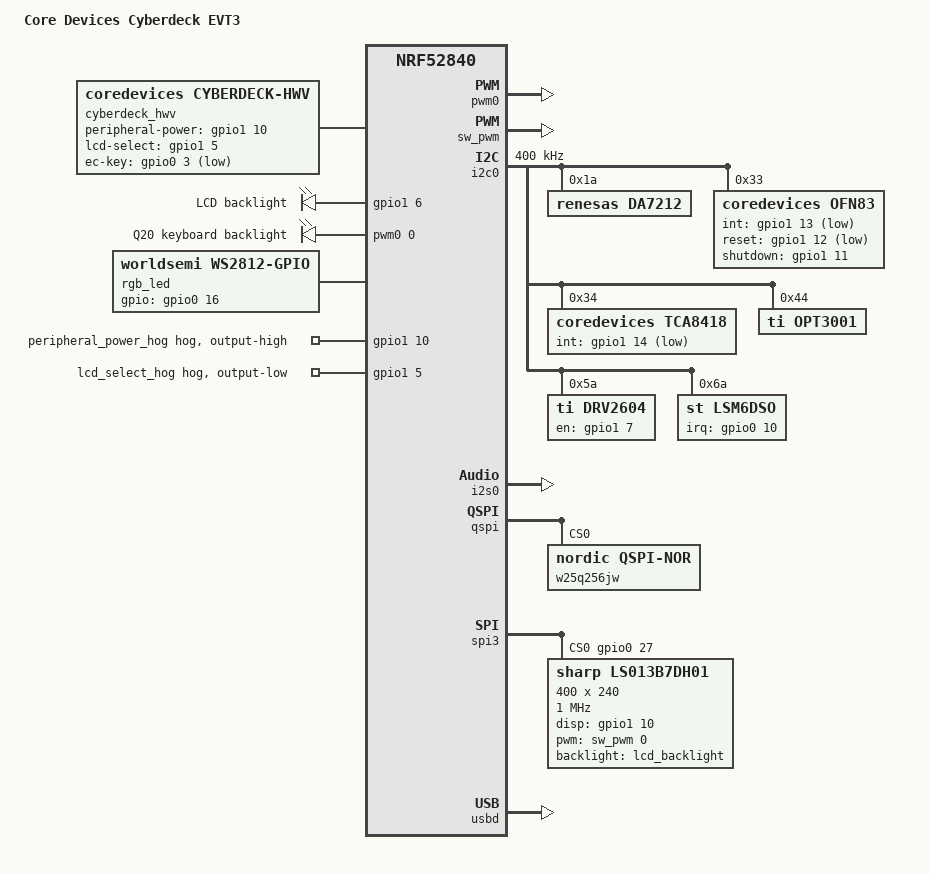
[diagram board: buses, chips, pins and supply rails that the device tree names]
/dts-v1/;

#include <nordic/nrf52840_qiaa.dtsi>
#include <nordic/nrf52840_partition.dtsi>
#include "cyberdeck_evt3-pinctrl.dtsi"

#include <zephyr/dt-bindings/gpio/gpio.h>
#include <zephyr/dt-bindings/led/led.h>
#include <zephyr/dt-bindings/pwm/pwm.h>
#include <zephyr/dt-bindings/sensor/lsm6dso.h>

/ {
	model = "Core Devices Cyberdeck EVT3";
	compatible = "coredevices,cyberdeck-evt3";

	chosen {
		zephyr,console = &cdc_acm_uart0;
		zephyr,shell-uart = &cdc_acm_uart0;
		zephyr,display = &ls013b7dh01;
		zephyr,led-strip = &rgb_led;
	};

	aliases {
		flash0 = &w25q256jw;
		light0 = &opt3001;
		imu0 = &lsm6dso;
		haptic0 = &drv2604;
	};

	cyberdeck_hwv: cyberdeck-hwv {
		compatible = "coredevices,cyberdeck-hwv";
		peripheral-power-gpios = <&gpio1 10 GPIO_ACTIVE_HIGH>;
		lcd-select-gpios = <&gpio1 5 GPIO_ACTIVE_HIGH>;
		ec-key-gpios = <&gpio0 3 (GPIO_PULL_UP | GPIO_ACTIVE_LOW)>;
	};

	lcd_backlight: lcd-backlight {
		compatible = "gpio-leds";
		lcd_backlight_led: lcd-backlight-led {
			gpios = <&gpio1 6 GPIO_ACTIVE_HIGH>;
			label = "LCD backlight";
		};
	};

	kbd_backlight: kbd-backlight {
		compatible = "pwm-leds";
		kbd_backlight_led: kbd-backlight-led {
			pwms = <&pwm0 0 PWM_USEC(1000) PWM_POLARITY_NORMAL>;
			label = "Q20 keyboard backlight";
		};
	};

	rgb_led: ws2812 {
		compatible = "worldsemi,ws2812-gpio";
		chain-length = <1>;
		color-mapping = <LED_COLOR_ID_GREEN LED_COLOR_ID_RED LED_COLOR_ID_BLUE>;
		reset-delay = <50>;
		gpios = <&gpio0 16 GPIO_ACTIVE_HIGH>;
	};
};

&gpiote {
	status = "okay";
};

&gpio0 {
	status = "okay";
};

&gpio1 {
	status = "okay";

	peripheral_power_hog: peripheral-power-hog {
		gpio-hog;
		gpios = <10 GPIO_ACTIVE_HIGH>;
		output-high;
	};

	lcd_select_hog: lcd-select-hog {
		gpio-hog;
		gpios = <5 GPIO_ACTIVE_HIGH>;
		output-low;
	};
};

&pwm0 {
	status = "okay";
	pinctrl-0 = <&pwm0_default>;
	pinctrl-1 = <&pwm0_sleep>;
	pinctrl-names = "default", "sleep";
};

&sw_pwm {
	status = "okay";
	generator = <&rtc2>;
	channel-gpios = <&gpio1 4 GPIO_ACTIVE_HIGH>;
};

&i2c0 {
	compatible = "nordic,nrf-twim";
	status = "okay";
	clock-frequency = <I2C_BITRATE_FAST>;
	pinctrl-0 = <&i2c0_default>;
	pinctrl-1 = <&i2c0_sleep>;
	pinctrl-names = "default", "sleep";

	da7212: audio-codec@1a {
		compatible = "renesas,da7212";
		reg = <0x1a>;
	};

	ofn83: optical-navigation@33 {
		compatible = "coredevices,ofn83";
		reg = <0x33>;
		int-gpios = <&gpio1 13 (GPIO_PULL_UP | GPIO_ACTIVE_LOW)>;
		reset-gpios = <&gpio1 12 GPIO_ACTIVE_LOW>;
		shutdown-gpios = <&gpio1 11 GPIO_ACTIVE_HIGH>;
	};

	tca8418: keyboard@34 {
		compatible = "coredevices,tca8418";
		reg = <0x34>;
		int-gpios = <&gpio1 14 (GPIO_PULL_UP | GPIO_ACTIVE_LOW)>;
	};

	opt3001: light-sensor@44 {
		compatible = "ti,opt3001";
		reg = <0x44>;
	};

	drv2604: haptic@5a {
		compatible = "ti,drv2604";
		reg = <0x5a>;
		en-gpios = <&gpio1 7 GPIO_ACTIVE_HIGH>;
	};

	lsm6dso: imu-sensor@6a {
		compatible = "st,lsm6dso";
		reg = <0x6a>;
		irq-gpios = <&gpio0 10 GPIO_ACTIVE_HIGH>;
		accel-pm = <LSM6DSO_DT_XL_ULP_MODE>;
		gyro-pm = <LSM6DSO_DT_GY_NORMAL_MODE>;
	};
};

&i2s0 {
	compatible = "nordic,nrf-i2s";
	status = "okay";
	pinctrl-0 = <&i2s0_default>;
	pinctrl-1 = <&i2s0_sleep>;
	pinctrl-names = "default", "sleep";
};

&qspi {
	status = "okay";
	pinctrl-0 = <&qspi_default>;
	pinctrl-1 = <&qspi_sleep>;
	pinctrl-names = "default", "sleep";

	w25q256jw: memory@0 {
		compatible = "nordic,qspi-nor";
		reg = <0>;
		writeoc = "pp4o";
		readoc = "read4io";
		sck-frequency = <8000000>;
		quad-enable-requirements = "S2B1v6";
		address-size-32;
		enter-4byte-addr = <0xb7>;
		jedec-id = [ef 60 19];
		size-in-bytes = <0x02000000>;
		has-dpd;
		t-enter-dpd = <3000>;
		t-exit-dpd = <20000>;
	};
};

&spi3 {
	compatible = "nordic,nrf-spim";
	status = "okay";
	cs-gpios = <&gpio0 27 GPIO_ACTIVE_HIGH>;
	pinctrl-0 = <&spi3_default>;
	pinctrl-1 = <&spi3_sleep>;
	pinctrl-names = "default", "sleep";
	zephyr,pm-device-runtime-auto;

	ls013b7dh01: display@0 {
		compatible = "sharp,ls013b7dh01";
		reg = <0>;
		disp-gpios = <&gpio1 10 GPIO_ACTIVE_HIGH>;
		pwms = <&sw_pwm 0 PWM_HZ(120) PWM_POLARITY_NORMAL>;
		pwm-names = "extcomin";
		spi-max-frequency = <1000000>;
		backlight = <&lcd_backlight>;
		height = <240>;
		width = <400>;
		initially-on;
	};
};

&uicr {
	gpio-as-nreset;
};

zephyr_udc0: &usbd {
	compatible = "nordic,nrf-usbd";
	status = "okay";

	cdc_acm_uart0: cdc_acm_uart0 {
		compatible = "zephyr,cdc-acm-uart";
	};
};
